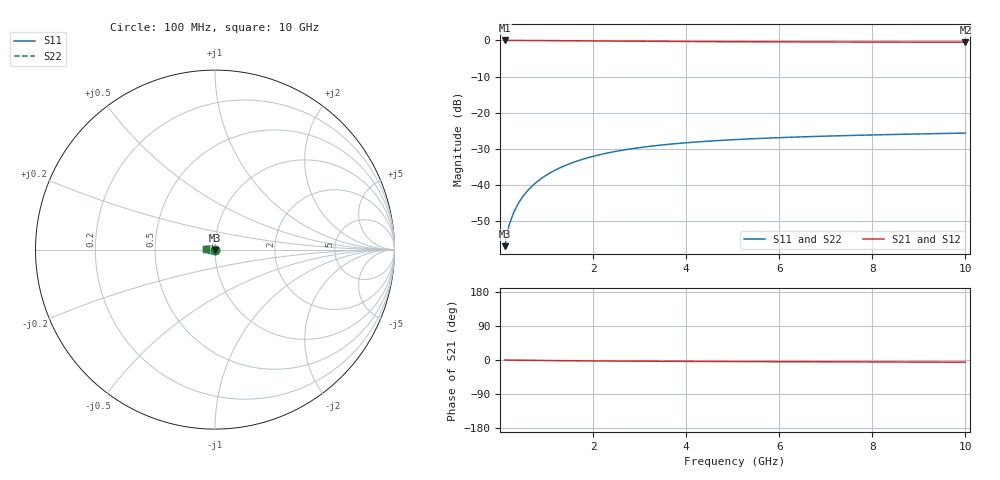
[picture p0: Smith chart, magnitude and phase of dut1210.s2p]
! Touchstone file exported from HFSS 2024.1.0
!  File:  C:/UserFiles/LocalFiles/RDL_TSV_Batchsim/temp_TSV1_1210_1780248212.aedt
!  Generated:  01:29:35 AM Jun  1, 2026
!  Design:  TSV1
!  Project:  temp_TSV1_1210_1780248212
!  Setup:  Setup1
!  Solution:  Sweep
! Variables:
!  dtsv = 10.39um
!  hbump = 3um
!  htsv = 90.83um
!  lrdl = 252.1521522um
!  p = 40
!  p1 = 51.75um
!  t = 500um
!  trdl = 3um
!  wrdl = 24.89489489um
# GHz S MA R 50.000000
! Terminal data exported
! Port[1] = TSV22_T1
! Port[2] = TSV22_T2
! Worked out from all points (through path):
!   100 points, 100 MHz to 10 GHz, reference 50 ohm
!   highest |S21| = 0.00 dB at 100 MHz (marker M1); lowest = -0.5 dB at 10 GHz (marker M2)
!   lowest |S11| = -57.0 dB at 100 MHz (marker M3), VSWR 1.00, Z = 50 - j0.141 ohm
!   |S11| at or under -10 dB: start of sweep to end of sweep
!   |S22| runs from -57.0 to -25.7 dB; largest |S21 - S12| = 5.3e-15
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0.1  0.001414 -85.9  0.9998 -0.1  0.9998 -0.1  0.001414 -85.9
! Gamma 0 0 0 0
! Port Impedance 50 0 50 0
0.2  0.002817 -90.6  0.9997 -0.3  0.9997 -0.3  0.002817 -90.6
0.3  0.00422 -93.3  0.9994 -0.4  0.9994 -0.4  0.00422 -93.3
0.4  0.005618 -95.6  0.9991 -0.6  0.9991 -0.6  0.005618 -95.6
0.5  0.007006 -97.7  0.9987 -0.7  0.9987 -0.7  0.007006 -97.7
0.6  0.008379 -99.7  0.9982 -0.8  0.9982 -0.8  0.008379 -99.7
0.7  0.009735 -101.6  0.9976 -1.0  0.9976 -1.0  0.009735 -101.6
0.8  0.01107 -103.5  0.997 -1.1  0.997 -1.1  0.01107 -103.5
0.9  0.01238 -105.4  0.9963 -1.2  0.9963 -1.2  0.01238 -105.4
1.1  0.01492 -109.0  0.9947 -1.5  0.9947 -1.5  0.01492 -109.0
1.4  0.01851 -114.1  0.9921 -1.8  0.9921 -1.8  0.01851 -114.1
1.6  0.02074 -117.3  0.9901 -2.0  0.9901 -2.0  0.02074 -117.3
1.8  0.02283 -120.4  0.9881 -2.2  0.9881 -2.2  0.02283 -120.4
2.1  0.02573 -124.9  0.985 -2.5  0.985 -2.5  0.02573 -124.9
2.5  0.02914 -130.3  0.9809 -2.8  0.9809 -2.8  0.02914 -130.3
2.9  0.03209 -135.3  0.977 -3.0  0.977 -3.0  0.03209 -135.3
3.4  0.0352 -140.9  0.9725 -3.3  0.9725 -3.3  0.0352 -140.9
4.2  0.03914 -148.7  0.9663 -3.7  0.9663 -3.7  0.03914 -148.7
5.1  0.04247 -156.0  0.9608 -4.0  0.9608 -4.0  0.04247 -156.0
6.7  0.04664 -166.6  0.9538 -4.6  0.9538 -4.6  0.04664 -166.6
8.4  0.04976 -175.6  0.949 -5.2  0.949 -5.2  0.04976 -175.6
10  0.0521 177.4  0.9458 -5.8  0.9458 -5.8  0.0521 177.4
